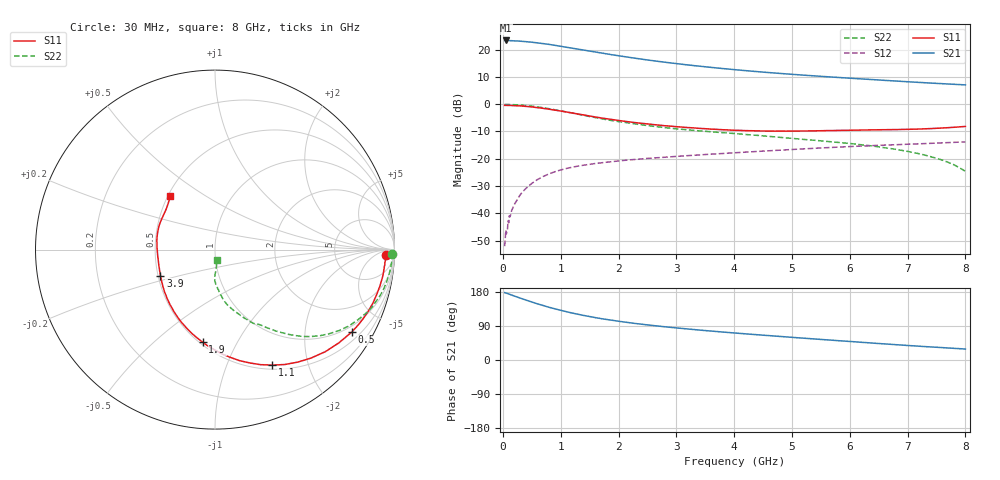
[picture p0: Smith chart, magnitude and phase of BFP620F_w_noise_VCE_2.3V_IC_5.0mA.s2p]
! Infineon Technologies  Discrete & RF Semiconductors
! BFP620F
! VCE =  2.3 V,  IC =  5.0 mA
! Common Emitter S-Parameters:  Dec 2014
# GHz  S  MA  R  50
!  f  S11  S21  S12  S22
! GHz  MAG  ANG  MAG  ANG  MAG  ANG  MAG  ANG
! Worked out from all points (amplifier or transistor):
!   95 points, 30 MHz to 8 GHz, reference 50 ohm
!   highest |S21| = 23.4 dB at 60 MHz (marker M1)
!   |S21| within 3 dB of that: start of sweep to 1.246 GHz
!   unconditionally stable (mu >= 1): 5.048 GHz to end of sweep
!   at 300 MHz: K = 0.12, MSG = 28.1 dB, |S12| = -33.2 dB
!   at 3.3 GHz: K = 0.84, MSG = 16.4 dB, |S12| = -18.7 dB
!   at 8 GHz: K = 1.13, MAG = 8.3 dB, |S12| = -13.8 dB
!   lowest NFmin = 0.52 dB at 450 MHz
!   S11 on the Smith chart (normalised r, x): 30 MHz: 29, -18; 500 MHz: 0.78, -3.43; 1.1 GHz: 0.55, -1.47; 1.9 GHz: 0.52, -0.73; 3.9 GHz: 0.51, -0.17; 8 GHz: 0.51, +0.36
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0.03  0.9508 -1.8  14.65 177.8  0.0025 68.5  0.988 -1.3
0.05  0.9521 -3.2  14.65 176.9  0.0049 73.9  0.9899 -2.3
0.06  0.9508 -3.8  14.71 176.5  0.0042 77.0  0.9879 -2.6
0.11  0.9472 -6.9  14.6 173.6  0.009 81.9  0.9849 -4.9
0.25  0.9344 -15.8  14.41 166.0  0.0179 79.4  0.9715 -11.2
0.4  0.9107 -25.1  13.99 158.1  0.0286 75.2  0.9429 -17.7
0.5  0.8897 -31.1  13.67 153.1  0.0353 72.6  0.9208 -21.9
0.6  0.8638 -37.0  13.27 148.1  0.0416 69.7  0.8898 -25.8
0.8  0.8076 -48.4  12.45 139.1  0.0529 63.9  0.8258 -33.1
0.9  0.7785 -53.6  11.98 135.0  0.0578 61.5  0.7901 -36.4
1.1  0.7186 -63.6  11.03 127.4  0.0664 57.2  0.7211 -42.2
1.4  0.6332 -77.6  9.803 117.5  0.0763 52.2  0.6246 -49.1
1.7  0.5594 -90.1  8.677 109.2  0.0842 48.6  0.5416 -54.9
1.9  0.5213 -97.5  8.009 104.6  0.0888 46.8  0.4973 -58.3
2.3  0.4578 -111.6  6.922 96.2  0.0974 43.6  0.4324 -65.1
2.7  0.4133 -123.8  6.062 89.3  0.1049 41.6  0.3823 -69.8
3.2  0.3724 -137.4  5.238 81.8  0.1141 39.6  0.3386 -74.7
3.9  0.3371 -154.4  4.399 72.6  0.1266 37.5  0.2953 -79.4
4.1  0.3306 -158.9  4.205 70.2  0.1303 36.7  0.2843 -80.3
5.4  0.3248 174.9  3.294 55.4  0.1555 32.3  0.2175 -86.1
6.7  0.3414 151.5  2.693 41.5  0.1792 26.7  0.1539 -90.7
8  0.3909 129.9  2.256 28.9  0.2038 21.1  0.0588 -80.1
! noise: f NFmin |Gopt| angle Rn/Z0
0.45  0.52  0.46  9  0.28
0.9  0.59  0.43  20  0.24
1.5  0.66  0.38  26  0.22
1.8  0.7  0.36  30  0.21
1.9  0.71  0.31  42  0.23
2.4  0.77  0.28  56  0.21
3.5  0.9  0.27  77  0.16
5.5  1.12  0.18  155  0.13
6  1.17  0.14  173  0.25
